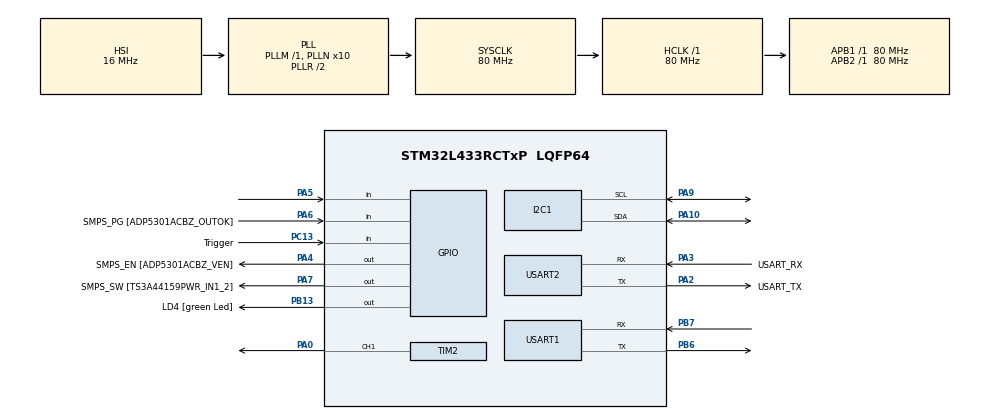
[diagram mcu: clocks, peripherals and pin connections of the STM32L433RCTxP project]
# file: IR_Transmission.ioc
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I2C1.Timing=0x10D19CE4
Mcu.Family=STM32L4
Mcu.Name=STM32L433RCTxP
Mcu.Package=LQFP64
NVIC.PriorityGroup=NVIC_PRIORITYGROUP_4
PA0.Signal=S_TIM2_CH1
PA10.Mode=I2C
PA10.Signal=I2C1_SDA
PA13\ (JTMS-SWDIO).Signal=SYS_JTMS-SWDIO
PA14\ (JTCK-SWCLK).GPIO_Label=TCK
PA14\ (JTCK-SWCLK).Signal=SYS_JTCK-SWCLK
PA2.GPIO_Label=USART_TX
PA2.GPIO_Mode=GPIO_MODE_AF_PP
PA2.GPIO_PuPd=GPIO_NOPULL
PA2.GPIO_Speed=GPIO_SPEED_FREQ_VERY_HIGH
PA2.Mode=Asynchronous
PA2.Signal=USART2_TX
PA3.GPIO_Label=USART_RX
PA3.GPIO_Mode=GPIO_MODE_AF_PP
PA3.GPIO_PuPd=GPIO_NOPULL
PA3.GPIO_Speed=GPIO_SPEED_FREQ_VERY_HIGH
PA3.Mode=Asynchronous
PA3.Signal=USART2_RX
PA4.GPIO_Label=SMPS_EN [ADP5301ACBZ_VEN]
PA4.Signal=GPIO_Output
PA5.GPIO_PuPd=GPIO_PULLUP
PA5.Signal=GPIO_Input
PA6.GPIO_Label=SMPS_PG [ADP5301ACBZ_OUTOK]
PA6.GPIO_PuPd=GPIO_PULLUP
PA6.Signal=GPIO_Input
PA7.GPIO_Label=SMPS_SW [TS3A44159PWR_IN1_2]
PA7.Signal=GPIO_Output
PA9.Mode=I2C
PA9.Signal=I2C1_SCL
PB13.GPIO_Label=LD4 [green Led]
PB13.Signal=GPIO_Output
PB3\ (JTDO-TRACESWO).GPIO_Label=SWO
PB3\ (JTDO-TRACESWO).Signal=SYS_JTDO-SWO
PB6.Mode=Asynchronous
PB6.Signal=USART1_TX
PB7.Mode=Asynchronous
PB7.Signal=USART1_RX
PC13.GPIO_Label=Trigger
PC13.Signal=GPIO_Input
PC14-OSC32_IN\ (PC14).Mode=LSE-External-Oscillator
PC14-OSC32_IN\ (PC14).Signal=RCC_OSC32_IN
PC15-OSC32_OUT\ (PC15).Mode=LSE-External-Oscillator
PC15-OSC32_OUT\ (PC15).Signal=RCC_OSC32_OUT
PH0-OSC_IN\ (PH0).GPIO_Label=MCO
PH0-OSC_IN\ (PH0).Mode=HSE-External-Clock-Source
PH0-OSC_IN\ (PH0).Signal=RCC_OSC_IN
PH1-OSC_OUT\ (PH1).Signal=RCC_OSC_OUT
ProjectManager.HeapSize=0x200
ProjectManager.StackSize=0x400
ProjectManager.TargetToolchain=STM32CubeIDE
RCC.ADCFreq_Value=64000000
RCC.AHBFreq_Value=80000000
RCC.APB1Freq_Value=80000000
RCC.APB1TimFreq_Value=80000000
RCC.APB2Freq_Value=80000000
RCC.APB2TimFreq_Value=80000000
RCC.CortexFreq_Value=80000000
RCC.HCLKFreq_Value=80000000
RCC.HSE_VALUE=8000000
RCC.HSI48_VALUE=48000000
RCC.HSI_VALUE=16000000
RCC.MSI_VALUE=4000000
RCC.PLLN=10
RCC.PLLSourceVirtual=RCC_PLLSOURCE_HSI
RCC.PREFETCH_ENABLE=1
RCC.SYSCLKFreq_VALUE=80000000
RCC.SYSCLKSource=RCC_SYSCLKSOURCE_PLLCLK
RCC.USBFreq_Value=64000000
RCC.VCOOutputFreq_Value=160000000
SH.S_TIM2_CH1.0=TIM2_CH1,PWM Generation1 CH1
TIM2.Channel-PWM\ Generation1\ CH1=TIM_CHANNEL_1
TIM2.Period=2105
TIM6.AutoReloadPreload=TIM_AUTORELOAD_PRELOAD_ENABLE
TIM6.Period=65535
TIM6.Prescaler=79
USART1.VirtualMode-Asynchronous=VM_ASYNC
USART2.VirtualMode-Asynchronous=VM_ASYNC
VP_TIM6_VS_ClockSourceINT.Mode=Enable_Timer
board=NUCLEO-L433RC-P

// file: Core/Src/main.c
/* USER CODE BEGIN Header */
/**
  ******************************************************************************
  * @file           : main.c
  * @brief          : Main program body
  ******************************************************************************
  * @attention
  *
  * Copyright (c) 2025 STMicroelectronics.
  * All rights reserved.
  *
  * This software is licensed under terms that can be found in the LICENSE file
  * in the root directory of this software component.
  * If no LICENSE file comes with this software, it is provided AS-IS.
  *
  ******************************************************************************
  */
/* USER CODE END Header */
#include "main.h"

/* USER CODE BEGIN Includes */
#include <string.h>
#include <stdio.h>
#include <math.h>
/* USER CODE END Includes */

/* USER CODE BEGIN PM */
#define MPU6050_ADDR        (0x68 << 1)
#define PWR_MGMT_1          0x6B
#define GYRO_XOUT_H         0x43

/* ICM-20948 I²C Definitions */
#define ICM20948_ADDR        (0x68 << 1)    // AD0=GND (default)
#define ICM20948_WHO_AM_I    0x00
#define ICM20948_PWR_MGMT_1  0x06
#define ICM20948_PWR_MGMT_2  0x07
#define ICM20948_ACCEL_XOUT_H 0x2D
#define ICM20948_GYRO_XOUT_H  0x33
#define ICM20948_INT_PIN_CFG  0x0F

/* USER CODE END PM */

I2C_HandleTypeDef hi2c1;

TIM_HandleTypeDef htim2;
TIM_HandleTypeDef htim6;

UART_HandleTypeDef huart1;
UART_HandleTypeDef huart2;

/* USER CODE BEGIN PV */
uint8_t soldier_id = 0x7;
uint8_t firing_mode = 0x2;
uint8_t weapon_id = 0x5;
uint32_t trigger_count = 0;
uint32_t last_sent_count = 0;

/* USER CODE END PV */

void SystemClock_Config(void);
static void MX_GPIO_Init(void);
static void MX_USART2_UART_Init(void);
static void MX_TIM2_Init(void);
static void MX_TIM6_Init(void);
static void MX_I2C1_Init(void);
static void MX_USART1_UART_Init(void);
/* USER CODE BEGIN PFP */
void USART2_Print(char* msg);
void XBee_Send(char* msg);
void delay_us(uint16_t us);
void ir_on(void);
void ir_off(void);
void send_burst(uint16_t on_time, uint16_t off_time);
void send_bit(uint8_t bit);
void send_nec(uint8_t addr, uint8_t data);
void MPU6050_Init(void);
void MPU6050_Read_Gyro(int16_t* gx, int16_t* gy, int16_t* gz);
void Error_Handler(void);

//void MPU9250_Init(void);
//void MPU9250_ReadRaw(int16_t* accel, int16_t* gyro, int16_t* mag, int16_t* temp);
void Calculate_RPY(int16_t* accel, int16_t* mag, float* roll, float* pitch, float* yaw);
void print_uart(const char* msg);
void I2C_Scan(void) ;
void ICM20948_Init(void);
void ICM20948_ReadRaw(int16_t *accel, int16_t *gyro);

/* USER CODE END PFP */

int main(void)
{

  /* MCU Configuration--------------------------------------------------------*/

  /* Reset of all peripherals, Initializes the Flash interface and the Systick. */
  HAL_Init();

  /* Configure the system clock */
  SystemClock_Config();

  /* Initialize all configured peripherals */
  MX_GPIO_Init();
  MX_USART2_UART_Init();
  MX_TIM2_Init();
  MX_TIM6_Init();
  MX_I2C1_Init();
  MX_USART1_UART_Init();
  /* USER CODE BEGIN 2 */

  USART2_Print("System Initialized.\r\n");

    //check_addresses();
 // I2C_Scan();
  ICM20948_Init();
    USART2_Print("MPU9250 Initialized.\r\n");

    uint8_t command = (firing_mode << 4) | (weapon_id & 0x0F);
    uint16_t accel[3], gyro[3], mag[3];
    float roll, pitch, yaw;

  /* USER CODE END 2 */

  /* Infinite loop */
  while (1)
  {

    /* USER CODE BEGIN 3 */
	  //uint16_t gx, gy, gz;
	     char xbee_msg[128];
	      char debug_msg[128];

	      static uint32_t last_trigger_count = 0;
	     ICM20948_ReadRaw(accel, gyro);
	      Calculate_RPY(accel, mag, &roll, &pitch, &yaw);

	      if (HAL_GPIO_ReadPin(GPIOA, GPIO_PIN_5) == GPIO_PIN_RESET)
	      {
	        trigger_count++;
	        last_trigger_count = trigger_count;

	        snprintf(debug_msg, sizeof(debug_msg), "Trigger pressed! New count: %lu\r\n", trigger_count);
	        USART2_Print(debug_msg);
	        //XBee_Send(debug_msg);
	        for (int i = 0; i < 4; i++) {
	          send_nec(soldier_id, command);
	          HAL_Delay(120);
	        }
	        USART2_Print("IR signal sent.\r\n");

	        HAL_Delay(300);
	      }

	     snprintf(xbee_msg,sizeof(xbee_msg),"Roll: %.2f  Pitch: %.2f  Yaw: %.2f Trigger_count :%lu\r\n", roll, pitch, yaw,last_trigger_count);
	      //USART2_Print(buf);
	      //HAL_Delay(100);  // 10Hz update rate

	     // snprintf(xbee_msg, sizeof(xbee_msg), "%d,%d,%d,%lu\r\n",
	       //          last_gx, last_gy, last_gz, last_trigger_count);
	     XBee_Send(xbee_msg);
	      snprintf(debug_msg, sizeof(debug_msg), "Sent: %s", xbee_msg);
	      USART2_Print(debug_msg);

	      HAL_Delay(100);

  }
  /* USER CODE END 3 */
}

void SystemClock_Config(void)
{
  RCC_OscInitTypeDef RCC_OscInitStruct = {0};
  RCC_ClkInitTypeDef RCC_ClkInitStruct = {0};

  /** Configure the main internal regulator output voltage
  */
  if (HAL_PWREx_ControlVoltageScaling(PWR_REGULATOR_VOLTAGE_SCALE1) != HAL_OK)
  {
    Error_Handler();
  }

  /** Initializes the RCC Oscillators according to the specified parameters
  * in the RCC_OscInitTypeDef structure.
  */
  RCC_OscInitStruct.OscillatorType = RCC_OSCILLATORTYPE_HSI;
  RCC_OscInitStruct.HSIState = RCC_HSI_ON;
  RCC_OscInitStruct.HSICalibrationValue = RCC_HSICALIBRATION_DEFAULT;
  RCC_OscInitStruct.PLL.PLLState = RCC_PLL_ON;
  RCC_OscInitStruct.PLL.PLLSource = RCC_PLLSOURCE_HSI;
  RCC_OscInitStruct.PLL.PLLM = 1;
  RCC_OscInitStruct.PLL.PLLN = 10;
  RCC_OscInitStruct.PLL.PLLP = RCC_PLLP_DIV7;
  RCC_OscInitStruct.PLL.PLLQ = RCC_PLLQ_DIV2;
  RCC_OscInitStruct.PLL.PLLR = RCC_PLLR_DIV2;
  if (HAL_RCC_OscConfig(&RCC_OscInitStruct) != HAL_OK)
  {
    Error_Handler();
  }

  /** Initializes the CPU, AHB and APB buses clocks
  */
  RCC_ClkInitStruct.ClockType = RCC_CLOCKTYPE_HCLK|RCC_CLOCKTYPE_SYSCLK
                              |RCC_CLOCKTYPE_PCLK1|RCC_CLOCKTYPE_PCLK2;
  RCC_ClkInitStruct.SYSCLKSource = RCC_SYSCLKSOURCE_PLLCLK;
  RCC_ClkInitStruct.AHBCLKDivider = RCC_SYSCLK_DIV1;
  RCC_ClkInitStruct.APB1CLKDivider = RCC_HCLK_DIV1;
  RCC_ClkInitStruct.APB2CLKDivider = RCC_HCLK_DIV1;

  if (HAL_RCC_ClockConfig(&RCC_ClkInitStruct, FLASH_LATENCY_4) != HAL_OK)
  {
    Error_Handler();
  }
}

static void MX_I2C1_Init(void)
{

  hi2c1.Instance = I2C1;
  hi2c1.Init.Timing = 0x10D19CE4;
  hi2c1.Init.OwnAddress1 = 0;
  hi2c1.Init.AddressingMode = I2C_ADDRESSINGMODE_7BIT;
  hi2c1.Init.DualAddressMode = I2C_DUALADDRESS_DISABLE;
  hi2c1.Init.OwnAddress2 = 0;
  hi2c1.Init.OwnAddress2Masks = I2C_OA2_NOMASK;
  hi2c1.Init.GeneralCallMode = I2C_GENERALCALL_DISABLE;
  hi2c1.Init.NoStretchMode = I2C_NOSTRETCH_DISABLE;
  if (HAL_I2C_Init(&hi2c1) != HAL_OK)
  {
    Error_Handler();
  }

  /** Configure Analogue filter
  */
  if (HAL_I2CEx_ConfigAnalogFilter(&hi2c1, I2C_ANALOGFILTER_ENABLE) != HAL_OK)
  {
    Error_Handler();
  }

  /** Configure Digital filter
  */
  if (HAL_I2CEx_ConfigDigitalFilter(&hi2c1, 0) != HAL_OK)
  {
    Error_Handler();
  }

}

static void MX_TIM2_Init(void)
{

  TIM_MasterConfigTypeDef sMasterConfig = {0};
  TIM_OC_InitTypeDef sConfigOC = {0};

  htim2.Instance = TIM2;
  htim2.Init.Prescaler = 0;
  htim2.Init.CounterMode = TIM_COUNTERMODE_UP;
  htim2.Init.Period = 2105;
  htim2.Init.ClockDivision = TIM_CLOCKDIVISION_DIV1;
  htim2.Init.AutoReloadPreload = TIM_AUTORELOAD_PRELOAD_DISABLE;
  if (HAL_TIM_PWM_Init(&htim2) != HAL_OK)
  {
    Error_Handler();
  }
  sMasterConfig.MasterOutputTrigger = TIM_TRGO_RESET;
  sMasterConfig.MasterSlaveMode = TIM_MASTERSLAVEMODE_DISABLE;
  if (HAL_TIMEx_MasterConfigSynchronization(&htim2, &sMasterConfig) != HAL_OK)
  {
    Error_Handler();
  }
  sConfigOC.OCMode = TIM_OCMODE_PWM1;
  sConfigOC.Pulse = 701;
  sConfigOC.OCPolarity = TIM_OCPOLARITY_HIGH;
  sConfigOC.OCFastMode = TIM_OCFAST_DISABLE;
  if (HAL_TIM_PWM_ConfigChannel(&htim2, &sConfigOC, TIM_CHANNEL_1) != HAL_OK)
  {
    Error_Handler();
  }
  HAL_TIM_MspPostInit(&htim2);

}

static void MX_TIM6_Init(void)
{

  TIM_MasterConfigTypeDef sMasterConfig = {0};

  htim6.Instance = TIM6;
  htim6.Init.Prescaler = 79;
  htim6.Init.CounterMode = TIM_COUNTERMODE_UP;
  htim6.Init.Period = 65535;
  htim6.Init.AutoReloadPreload = TIM_AUTORELOAD_PRELOAD_ENABLE;
  if (HAL_TIM_Base_Init(&htim6) != HAL_OK)
  {
    Error_Handler();
  }
  sMasterConfig.MasterOutputTrigger = TIM_TRGO_RESET;
  sMasterConfig.MasterSlaveMode = TIM_MASTERSLAVEMODE_DISABLE;
  if (HAL_TIMEx_MasterConfigSynchronization(&htim6, &sMasterConfig) != HAL_OK)
  {
    Error_Handler();
  }

}

static void MX_USART1_UART_Init(void)
{

  huart1.Instance = USART1;
  huart1.Init.BaudRate = 115200;
  huart1.Init.WordLength = UART_WORDLENGTH_8B;
  huart1.Init.StopBits = UART_STOPBITS_1;
  huart1.Init.Parity = UART_PARITY_NONE;
  huart1.Init.Mode = UART_MODE_TX_RX;
  huart1.Init.HwFlowCtl = UART_HWCONTROL_NONE;
  huart1.Init.OverSampling = UART_OVERSAMPLING_16;
  huart1.Init.OneBitSampling = UART_ONE_BIT_SAMPLE_DISABLE;
  huart1.AdvancedInit.AdvFeatureInit = UART_ADVFEATURE_NO_INIT;
  if (HAL_UART_Init(&huart1) != HAL_OK)
  {
    Error_Handler();
  }

}

static void MX_USART2_UART_Init(void)
{

  huart2.Instance = USART2;
  huart2.Init.BaudRate = 115200;
  huart2.Init.WordLength = UART_WORDLENGTH_8B;
  huart2.Init.StopBits = UART_STOPBITS_1;
  huart2.Init.Parity = UART_PARITY_NONE;
  huart2.Init.Mode = UART_MODE_TX_RX;
  huart2.Init.HwFlowCtl = UART_HWCONTROL_NONE;
  huart2.Init.OverSampling = UART_OVERSAMPLING_16;
  huart2.Init.OneBitSampling = UART_ONE_BIT_SAMPLE_DISABLE;
  huart2.AdvancedInit.AdvFeatureInit = UART_ADVFEATURE_NO_INIT;
  if (HAL_UART_Init(&huart2) != HAL_OK)
  {
    Error_Handler();
  }

}

static void MX_GPIO_Init(void)
{
  GPIO_InitTypeDef GPIO_InitStruct = {0};

  /* GPIO Ports Clock Enable */
  __HAL_RCC_GPIOC_CLK_ENABLE();
  __HAL_RCC_GPIOH_CLK_ENABLE();
  __HAL_RCC_GPIOA_CLK_ENABLE();
  __HAL_RCC_GPIOB_CLK_ENABLE();

  /*Configure GPIO pin Output Level */
  HAL_GPIO_WritePin(GPIOA, SMPS_EN_Pin|SMPS_SW_Pin, GPIO_PIN_RESET);

  /*Configure GPIO pin Output Level */
  HAL_GPIO_WritePin(LD4_GPIO_Port, LD4_Pin, GPIO_PIN_RESET);

  /*Configure GPIO pin : Trigger_Pin */
  GPIO_InitStruct.Pin = Trigger_Pin;
  GPIO_InitStruct.Mode = GPIO_MODE_INPUT;
  GPIO_InitStruct.Pull = GPIO_NOPULL;
  HAL_GPIO_Init(Trigger_GPIO_Port, &GPIO_InitStruct);

  /*Configure GPIO pins : SMPS_EN_Pin SMPS_SW_Pin */
  GPIO_InitStruct.Pin = SMPS_EN_Pin|SMPS_SW_Pin;
  GPIO_InitStruct.Mode = GPIO_MODE_OUTPUT_PP;
  GPIO_InitStruct.Pull = GPIO_NOPULL;
  GPIO_InitStruct.Speed = GPIO_SPEED_FREQ_LOW;
  HAL_GPIO_Init(GPIOA, &GPIO_InitStruct);

  /*Configure GPIO pins : PA5 SMPS_PG_Pin */
  GPIO_InitStruct.Pin = GPIO_PIN_5|SMPS_PG_Pin;
  GPIO_InitStruct.Mode = GPIO_MODE_INPUT;
  GPIO_InitStruct.Pull = GPIO_PULLUP;
  HAL_GPIO_Init(GPIOA, &GPIO_InitStruct);

  /*Configure GPIO pin : LD4_Pin */
  GPIO_InitStruct.Pin = LD4_Pin;
  GPIO_InitStruct.Mode = GPIO_MODE_OUTPUT_PP;
  GPIO_InitStruct.Pull = GPIO_NOPULL;
  GPIO_InitStruct.Speed = GPIO_SPEED_FREQ_LOW;
  HAL_GPIO_Init(LD4_GPIO_Port, &GPIO_InitStruct);

}

/* USER CODE BEGIN 4 */
void USART2_Print(char* msg)
{
  HAL_UART_Transmit(&huart2, (uint8_t*)msg, strlen(msg), HAL_MAX_DELAY);
}

void XBee_Send(char* msg)
{
  if(HAL_UART_Transmit(&huart1, (uint8_t*)msg, strlen(msg), HAL_MAX_DELAY)==HAL_OK){
	  HAL_UART_Transmit(&huart2, "xbee sent", 10, HAL_MAX_DELAY);
  }
}

void delay_us(uint16_t us)
{
  __HAL_TIM_SET_COUNTER(&htim6, 0);
  HAL_TIM_Base_Start(&htim6);
  while (__HAL_TIM_GET_COUNTER(&htim6) < us);
  HAL_TIM_Base_Stop(&htim6);
}

void ir_on(void)  { HAL_TIM_PWM_Start(&htim2, TIM_CHANNEL_1); }
void ir_off(void) { HAL_TIM_PWM_Stop(&htim2, TIM_CHANNEL_1); }
void send_burst(uint16_t on_time, uint16_t off_time)
{
  ir_on(); delay_us(on_time);
  ir_off(); delay_us(off_time);
}

void send_bit(uint8_t bit)
{
  if (bit) send_burst(560, 1690);
  else     send_burst(560, 560);
}

void send_nec(uint8_t addr, uint8_t data)
{
  send_burst(9000, 4500);
  for (int i = 0; i < 8; i++) send_bit((addr >> i) & 1);
  for (int i = 0; i < 8; i++) send_bit((~addr >> i) & 1);
  for (int i = 0; i < 8; i++) send_bit((data >> i) & 1);
  for (int i = 0; i < 8; i++) send_bit((~data >> i) & 1);
  send_burst(560, 0);
}

void ICM20948_Init(void)
{
    uint8_t who_am_i = 0;
    uint8_t data;
    char msg[64];

    HAL_Delay(100);

    // 1. Read WHO_AM_I register (0x00) from BANK 0
    HAL_I2C_Mem_Read(&hi2c1, ICM20948_ADDR, ICM20948_WHO_AM_I,
                     I2C_MEMADD_SIZE_8BIT, &who_am_i, 1, HAL_MAX_DELAY);

    sprintf(msg, "WHO_AM_I = 0x%02X\r\n", who_am_i);
    USART2_Print(msg);

    if (who_am_i == 0xEA)  // ICM-20948 detected
    {
        USART2_Print("ICM20948 detected\r\n");

        // 2. Reset device
        data = 0x01;  // set DEVICE_RESET
        HAL_I2C_Mem_Write(&hi2c1, ICM20948_ADDR, ICM20948_PWR_MGMT_1,
                          I2C_MEMADD_SIZE_8BIT, &data, 1, HAL_MAX_DELAY);
        HAL_Delay(100);

        // 3. Wake up device, select auto clock
        data = 0x01;
        HAL_I2C_Mem_Write(&hi2c1, ICM20948_ADDR, ICM20948_PWR_MGMT_1,
                          I2C_MEMADD_SIZE_8BIT, &data, 1, HAL_MAX_DELAY);

        // 4. Enable accel and gyro
        data = 0x00;
        HAL_I2C_Mem_Write(&hi2c1, ICM20948_ADDR, ICM20948_PWR_MGMT_2,
                          I2C_MEMADD_SIZE_8BIT, &data, 1, HAL_MAX_DELAY);

        HAL_Delay(10);
    }
    else
    {
        sprintf(msg, "Unknown device: 0x%02X\r\n", who_am_i);
        USART2_Print(msg);
        Error_Handler();
    }
}

void ICM20948_ReadRaw(int16_t *accel, int16_t *gyro)
{
    uint8_t buf[12];

    // Read Accel (6 bytes) + Gyro (6 bytes) from BANK 0
    HAL_I2C_Mem_Read(&hi2c1, ICM20948_ADDR, ICM20948_ACCEL_XOUT_H,
                     I2C_MEMADD_SIZE_8BIT, buf, 12, HAL_MAX_DELAY);

    accel[0] = (int16_t)(buf[0] << 8 | buf[1]);
    accel[1] = (int16_t)(buf[2] << 8 | buf[3]);
    accel[2] = (int16_t)(buf[4] << 8 | buf[5]);
    gyro[0]  = (int16_t)(buf[6] << 8 | buf[7]);
    gyro[1]  = (int16_t)(buf[8] << 8 | buf[9]);
    gyro[2]  = (int16_t)(buf[10] << 8 | buf[11]);
}

/* Calculate Roll, Pitch, Yaw */
void Calculate_RPY(int16_t* accel, int16_t* mag, float* roll, float* pitch, float* yaw) {
    float ax = accel[0], ay = accel[1], az = accel[2];
    float mx = mag[0], my = mag[1], mz = mag[2];

    *roll = atan2f(ay, az) * 180 / M_PI;
    *pitch = atan2f(-ax, sqrtf(ay * ay + az * az)) * 180 / M_PI;

    float roll_rad = *roll * M_PI / 180.0f;
    float pitch_rad = *pitch * M_PI / 180.0f;

    float mx2 = mx * cosf(pitch_rad) + mz * sinf(pitch_rad);
    float my2 = mx * sinf(roll_rad) * sinf(pitch_rad) + my * cosf(roll_rad) - mz * sinf(roll_rad) * cosf(pitch_rad);

    *yaw = atan2f(-my2, mx2) * 180 / M_PI;
    if (*yaw < 0) *yaw += 360;
}

/////test case for debugging////////////
void I2C_Scan(void)
{
    char msg[32];
    HAL_StatusTypeDef res;
    for (uint8_t i = 1; i < 128; i++)
    {
        res = HAL_I2C_IsDeviceReady(&hi2c1, (i << 1), 2, 10);
        if (res == HAL_OK)
        {
            sprintf(msg, "Found at 0x%02X\r\n", i << 1);
            HAL_UART_Transmit(&huart2, (uint8_t*)msg, strlen(msg), HAL_MAX_DELAY);
        }
    }
    HAL_UART_Transmit(&huart2, (uint8_t*)"Scan done\r\n", 11, HAL_MAX_DELAY);
}

/* USER CODE END 4 */

void Error_Handler(void)
{
  __disable_irq();
  while (1)
  {
  }
}
